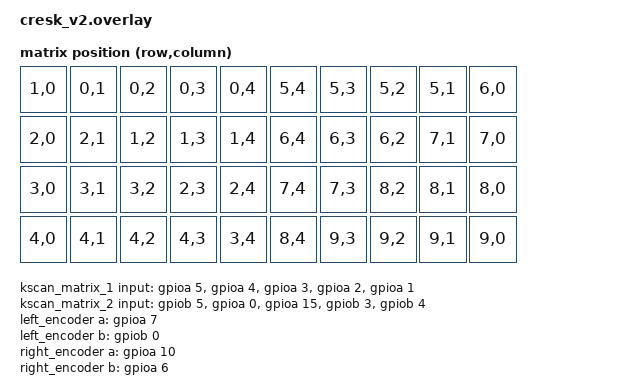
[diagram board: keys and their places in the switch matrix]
/*
 * Copyright (c) 2022 The ZMK Contributors
 *
 * SPDX-License-Identifier: MIT
 */

#include <dt-bindings/zmk/matrix_transform.h>

/ {
    chosen {
        zephyr,display = &oled;
        zmk,kscan = &kscan0;
        zmk,matrix_transform = &default_transform;
    };

    default_transform: keymap_transform_0 {
        compatible = "zmk,matrix-transform";
        columns = <5>;
        rows = <10>;

        map = <
RC(1,0) RC(0,1) RC(0,2) RC(0,3) RC(0,4) RC(5,4) RC(5,3) RC(5,2) RC(5,1) RC(6,0)
RC(2,0) RC(2,1) RC(1,2) RC(1,3) RC(1,4) RC(6,4) RC(6,3) RC(6,2) RC(7,1) RC(7,0)
RC(3,0) RC(3,1) RC(3,2) RC(2,3) RC(2,4) RC(7,4) RC(7,3) RC(8,2) RC(8,1) RC(8,0)
RC(4,0) RC(4,1) RC(4,2) RC(4,3) RC(3,4) RC(8,4) RC(9,3) RC(9,2) RC(9,1) RC(9,0)
        >;
    };

    kscan0: kscan {
        compatible = "zmk,kscan-composite";
        label = "KSCAN";

        matrix_1 {
            kscan = <&kscan_matrix_1>;
        };

        matrix_2 {
            kscan = <&kscan_matrix_2>;
            row-offset = <5>;
        };
    };

    kscan_matrix_1: kscan_matrix_1 {
        compatible = "zmk,kscan-gpio-round-robin-matrix";
        label = "KSCAN_ROUND_ROBIN_MATRIX_1";

        output-gpios
            = <&gpioa 5  GPIO_ACTIVE_HIGH>
            , <&gpioa 4  GPIO_ACTIVE_HIGH>
            , <&gpioa 3  GPIO_ACTIVE_HIGH>
            , <&gpioa 2  GPIO_ACTIVE_HIGH>
            , <&gpioa 1  GPIO_ACTIVE_HIGH>
            ;
        input-gpios
            = <&gpioa 5  (GPIO_ACTIVE_HIGH | GPIO_PULL_DOWN)>
            , <&gpioa 4  (GPIO_ACTIVE_HIGH | GPIO_PULL_DOWN)>
            , <&gpioa 3  (GPIO_ACTIVE_HIGH | GPIO_PULL_DOWN)>
            , <&gpioa 2  (GPIO_ACTIVE_HIGH | GPIO_PULL_DOWN)>
            , <&gpioa 1  (GPIO_ACTIVE_HIGH | GPIO_PULL_DOWN)>
            ;
    };

    kscan_matrix_2: kscan_matrix_2 {
        compatible = "zmk,kscan-gpio-round-robin-matrix";
        label = "KSCAN_ROUND_ROBIN_MATRIX_2";

        output-gpios
            = <&gpiob 5  GPIO_ACTIVE_HIGH>
            , <&gpioa 0  GPIO_ACTIVE_HIGH>
            , <&gpioa 15 GPIO_ACTIVE_HIGH>
            , <&gpiob 3  GPIO_ACTIVE_HIGH>
            , <&gpiob 4  GPIO_ACTIVE_HIGH>
            ;
        input-gpios
            = <&gpiob 5  (GPIO_ACTIVE_HIGH | GPIO_PULL_DOWN)>
            , <&gpioa 0  (GPIO_ACTIVE_HIGH | GPIO_PULL_DOWN)>
            , <&gpioa 15 (GPIO_ACTIVE_HIGH | GPIO_PULL_DOWN)>
            , <&gpiob 3  (GPIO_ACTIVE_HIGH | GPIO_PULL_DOWN)>
            , <&gpiob 4  (GPIO_ACTIVE_HIGH | GPIO_PULL_DOWN)>
            ;
    };

    left_encoder: encoder_left {
        compatible = "alps,ec11";
        label = "LEFT_ENCODER";
        a-gpios = <&gpioa 7  (GPIO_ACTIVE_HIGH | GPIO_PULL_UP)>;
        b-gpios = <&gpiob 0  (GPIO_ACTIVE_HIGH | GPIO_PULL_UP)>;
        resolution = <4>;
        status = "okay";
    };

    right_encoder: encoder_right {
        compatible = "alps,ec11";
        label = "RIGHT_ENCODER";
        a-gpios = <&gpioa 10 (GPIO_ACTIVE_HIGH | GPIO_PULL_UP)>;
        b-gpios = <&gpioa 6  (GPIO_ACTIVE_HIGH | GPIO_PULL_UP)>;
        resolution = <4>;
        status = "okay";
    };

    sensors {
        compatible = "zmk,keymap-sensors";
        sensors = <&left_encoder &right_encoder>;
    };
};

arduino_i2c: &i2c1 {
    status = "okay";

    oled: ssd1306@3c {
        compatible = "solomon,ssd1306fb";
        reg = <0x3c>;
        label = "DISPLAY";
        width = <128>;
        height = <32>;
        segment-offset = <0>;
        page-offset = <0>;
        display-offset = <0>;
        multiplex-ratio = <31>;
        segment-remap;
        com-invdir;
        com-sequential;
        prechargep = <0x22>;
    };
};
